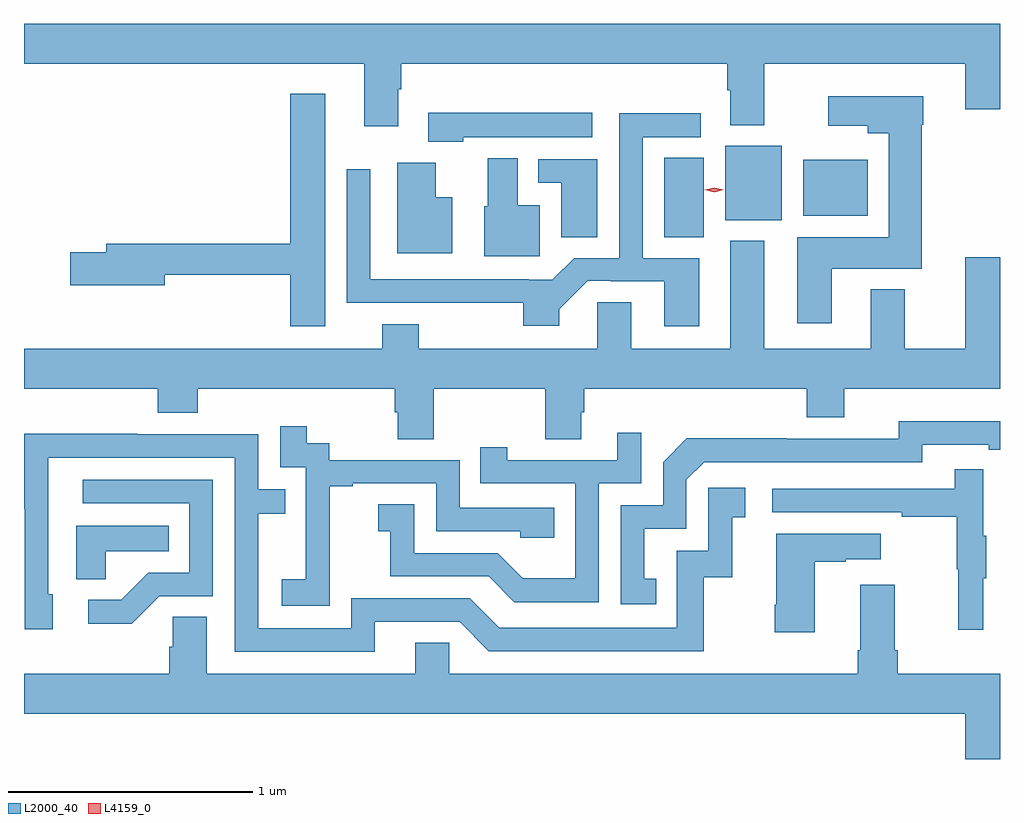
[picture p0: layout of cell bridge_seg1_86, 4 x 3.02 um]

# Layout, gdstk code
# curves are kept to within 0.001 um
import gdstk
lib = gdstk.Library(unit=1e-6, precision=1e-09)
def R(c, l, rs):  # rectangles x0, y0, x1, y1
    for r in rs: c.add(gdstk.rectangle(r[:2], r[2:], *l))
def P(c, l, *ps):  # polygons
    for p in ps: c.add(gdstk.Polygon(p, *l))
L2000_40 = (2000, 40)
L4159_0 = (4159, 0)

bridge_seg1_86 = lib.new_cell('bridge_seg1_86')
R(bridge_seg1_86, L2000_40, [(187.751,515.056,187.912,515.381), (188,515.126,188.233,515.431), (188.321,515.144,188.584,515.374)])
P(bridge_seg1_86, L2000_40, [(186.661,515.662),(186.674,515.662),(186.674,515.768),(188.009,515.768),(188.009,515.659),(188.021,515.659),(188.021,515.516),(188.161,515.516),(188.161,515.768),(188.984,515.768),(188.984,515.58),(189.127,515.58),(189.127,515.932),(185.127,515.932),(185.127,515.768),(186.521,515.768),(186.521,515.511),(186.661,515.511)],
  [(186.361,515.644),(186.218,515.644),(186.218,515.03),(185.465,515.03),(185.465,514.994),(185.316,514.994),(185.316,514.859),(185.704,514.859),(185.704,514.902),(186.218,514.902),(186.218,514.692),(186.361,514.692)],
  [(188.437,514.928),(188.807,514.928),(188.807,515.517),(188.812,515.517),(188.812,515.635),(188.424,515.635),(188.424,515.513),(188.585,515.513),(188.585,515.483),(188.672,515.483),(188.672,515.056),(188.297,515.056),(188.297,514.704),(188.437,514.704)],
  [(186.927,515.465),(187.456,515.465),(187.456,515.566),(186.783,515.566),(186.783,515.447),(186.927,515.447)],
  [(187.894,514.971),(187.662,514.971),(187.662,515.466),(187.9,515.466),(187.9,515.564),(187.566,515.564),(187.566,514.971),(187.382,514.971),(187.292,514.881),(187.196,514.881),(187.196,514.884),(186.546,514.884),(186.546,515.335),(186.45,515.335),(186.45,514.788),(187.174,514.787),(187.174,514.694),(187.321,514.694),(187.321,514.762),(187.437,514.878),(187.531,514.878),(187.531,514.875),(187.751,514.875),(187.751,514.692),(187.894,514.692)],
  [(187.24,515.188),(187.15,515.188),(187.15,515.38),(187.028,515.38),(187.028,515.184),(187.013,515.184),(187.013,514.979),(187.24,514.979)],
  [(187.477,515.376),(187.235,515.376),(187.235,515.28),(187.328,515.28),(187.328,515.056),(187.477,515.056)],
  [(186.883,515.221),(186.814,515.221),(186.814,515.362),(186.656,515.362),(186.656,514.991),(186.883,514.991)],
  [(185.127,514.436),(185.675,514.436),(185.675,514.337),(185.84,514.337),(185.84,514.436),(186.647,514.436),(186.647,514.338),(186.659,514.338),(186.659,514.228),(186.807,514.228),(186.807,514.436),(187.264,514.436),(187.264,514.228),(187.411,514.228),(187.411,514.338),(187.424,514.338),(187.424,514.436),(188.336,514.436),(188.336,514.319),(188.488,514.319),(188.488,514.436),(189.127,514.436),(189.127,514.975),(188.984,514.975),(188.984,514.6),(188.737,514.6),(188.737,514.843),(188.597,514.843),(188.597,514.6),(188.161,514.6),(188.161,515.041),(188.021,515.041),(188.021,514.6),(187.615,514.6),(187.615,514.79),(187.476,514.79),(187.476,514.6),(186.744,514.6),(186.744,514.699),(186.596,514.699),(186.596,514.6),(185.127,514.6)],
  [(187.718,513.657),(187.669,513.657),(187.669,513.861),(187.842,513.861),(187.842,514.062),(187.914,514.134),(188.808,514.134),(188.808,514.206),(189.08,514.206),(189.08,514.186),(189.127,514.186),(189.127,514.302),(188.712,514.303),(188.712,514.23),(188.252,514.23),(188.252,514.232),(187.844,514.232),(187.746,514.134),(187.746,513.957),(187.572,513.957),(187.572,513.552),(187.718,513.552)],
  [(186.381,513.751),(186.38,513.751),(186.38,514.035),(186.475,514.035),(186.475,514.047),(186.816,514.047),(186.816,513.852),(187.161,513.852),(187.161,513.825),(187.301,513.825),(187.301,513.948),(186.912,513.948),(186.912,514.143),(186.378,514.143),(186.378,514.212),(186.286,514.212),(186.286,514.282),(186.177,514.282),(186.177,514.113),(186.282,514.113),(186.282,513.884),(186.281,513.884),(186.281,513.655),(186.183,513.655),(186.183,513.545),(186.381,513.545)],
  [(187.482,514.047),(187.656,514.047),(187.656,514.255),(187.559,514.255),(187.559,514.143),(187.108,514.143),(187.108,514.195),(186.997,514.195),(186.997,514.047),(187.386,514.047),(187.386,513.658),(187.172,513.658),(187.068,513.762),(186.726,513.762),(186.726,513.961),(186.579,513.961),(186.579,513.851),(186.628,513.851),(186.628,513.666),(187.031,513.666),(187.136,513.561),(187.482,513.561)],
  [(186.565,513.48),(186.912,513.48),(187.032,513.36),(187.912,513.36),(187.912,513.663),(188.03,513.663),(188.03,513.909),(188.083,513.909),(188.083,514.03),(187.932,514.03),(187.932,513.771),(187.803,513.771),(187.803,513.456),(187.074,513.456),(186.954,513.576),(186.468,513.576),(186.468,513.453),(186.087,513.453),(186.087,513.922),(186.197,513.922),(186.197,514.023),(186.087,514.023),(186.087,514.248),(185.591,514.248),(185.591,514.25),(185.128,514.25),(185.128,513.943),(185.13,513.943),(185.13,513.45),(185.245,513.45),(185.245,513.594),(185.226,513.594),(185.226,514.152),(185.991,514.152),(185.991,513.357),(186.565,513.357)],
  [(189.059,513.659),(189.07,513.659),(189.07,513.833),(189.059,513.833),(189.059,514.105),(188.941,514.105),(188.941,514.026),(188.193,514.026),(188.193,513.93),(188.725,513.93),(188.725,513.91),(188.949,513.91),(188.949,513.696),(188.956,513.696),(188.956,513.447),(189.059,513.447)],
  [(185.682,513.585),(185.901,513.585),(185.901,514.062),(185.367,514.062),(185.367,513.966),(185.805,513.966),(185.805,513.681),(185.636,513.681),(185.525,513.57),(185.391,513.57),(185.391,513.472),(185.569,513.472)],
  [(185.463,513.77),(185.72,513.77),(185.72,513.874),(185.342,513.874),(185.342,513.655),(185.463,513.655)],
  [(188.368,513.727),(188.495,513.727),(188.495,513.737),(188.638,513.737),(188.638,513.841),(188.21,513.841),(188.21,513.55),(188.203,513.55),(188.203,513.438),(188.368,513.438)],
  [(189.127,513.268),(188.708,513.268),(188.708,513.364),(188.695,513.364),(188.695,513.631),(188.555,513.631),(188.555,513.364),(188.543,513.364),(188.543,513.268),(186.87,513.268),(186.87,513.395),(186.731,513.395),(186.731,513.268),(185.875,513.268),(185.875,513.5),(185.736,513.5),(185.736,513.377),(185.723,513.377),(185.723,513.268),(185.127,513.268),(185.127,513.104),(188.984,513.104),(188.984,512.916),(189.127,512.916)])
P(bridge_seg1_86, L4159_0, [(187.955,515.24),(187.916,515.25),(187.916,515.25),(187.916,515.251),(187.955,515.26),(187.994,515.251),(187.994,515.25),(187.994,515.25)])

lib.write_gds('bridge_seg1_86.gds')
